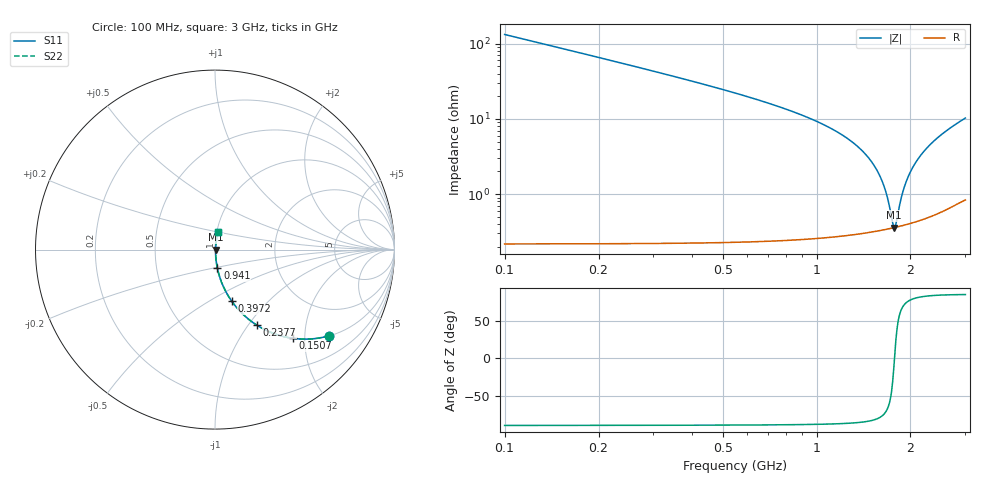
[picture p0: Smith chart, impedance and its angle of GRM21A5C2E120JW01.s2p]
!Murata Part Number: GRM21A5C2E120JW01
!These Parameters are Measured in Series Mode Connection
!Data Generated on Mar 30, 2021
!  o--ll--o
!Port1  Port2
!  o------o
!Operation Temp=25[degC], DC Bias Voltage=0[V]
!Freq. Start=100[MHz] Stop=3[GHz] 401[Steps]
# Hz S RI R 50
!Freq.(Hz) S11(Real) S11(Imag) S21(Real) S21(Imag) S12(Real) S12(Imag) S22(Real) S22(Imag)
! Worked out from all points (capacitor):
!   401 points, 100 MHz to 3 GHz, reference 50 ohm
!   read as one part in series: C = 12 pF near 114.5 MHz
!   lowest |Z| = 360 mohm at 1.775 GHz (marker M1)
!   series resonance near 1.778 GHz, so ESL is about 670 pH
!   S11 on the Smith chart (normalised r, x): 100 MHz: 1.00, -2.64; 150.8 MHz: 1.00, -1.75; 237.8 MHz: 1.00, -1.10; 397.2 MHz: 1.00, -0.64; 941 MHz: 1.01, -0.21; 3 GHz: 1.02, +0.20
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1e8  0.636 -0.4803  0.364 0.4803  0.364 0.4803  0.636 -0.4803
1.5075e8  0.4332 -0.4943  0.5668 0.4943  0.5668 0.4943  0.4332 -0.4943
2.3775e8  0.2322 -0.4203  0.7678 0.4203  0.7678 0.4203  0.2322 -0.4203
3.1025e8  0.1485 -0.3529  0.8515 0.3529  0.8515 0.3529  0.1485 -0.3529
3.9725e8  0.0937 -0.2879  0.9063 0.2879  0.9063 0.2879  0.0937 -0.2879
5.8575e8  0.0418 -0.1945  0.9582 0.1945  0.9582 0.1945  0.0418 -0.1945
9.41e8  0.013 -0.1019  0.987 0.1019  0.987 0.1019  0.013 -0.1019
1.0715e9  0.00908 -0.08  0.9909 0.08  0.9909 0.08  0.00908 -0.08
1.3615e9  0.00468 -0.0417  0.9953 0.0417  0.9953 0.0417  0.00468 -0.0417
1.55e9  0.00366 -0.0215  0.9963 0.0215  0.9963 0.0215  0.00366 -0.0215
1.65875e9  0.00349 -0.0109  0.9965 0.0109  0.9965 0.0109  0.00349 -0.0109
1.70225e9  0.00349 -0.00687  0.9965 0.00687  0.9965 0.00687  0.00349 -0.00687
1.753e9  0.00354 -0.00222  0.9965 0.00222  0.9965 0.00222  0.00354 -0.00222
1.77475e9  0.00358 -0.000256  0.9964 0.000256  0.9964 0.000256  0.00358 -0.000256
1.7965e9  0.00362 0.00169  0.9964 -0.00169  0.9964 -0.00169  0.00362 0.00169
1.8545e9  0.00378 0.0068  0.9962 -0.0068  0.9962 -0.0068  0.00378 0.0068
1.90525e9  0.00397 0.0112  0.996 -0.0112  0.996 -0.0112  0.00397 0.0112
1.96325e9  0.00423 0.0161  0.9958 -0.0161  0.9958 -0.0161  0.00423 0.0161
2.03575e9  0.00464 0.0222  0.9954 -0.0222  0.9954 -0.0222  0.00464 0.0222
2.23875e9  0.00623 0.0387  0.9938 -0.0387  0.9938 -0.0387  0.00623 0.0387
2.5215e9  0.00956 0.0612  0.9904 -0.0612  0.9904 -0.0612  0.00956 0.0612
3e9  0.0184 0.0995  0.9816 -0.0995  0.9816 -0.0995  0.0184 0.0995
